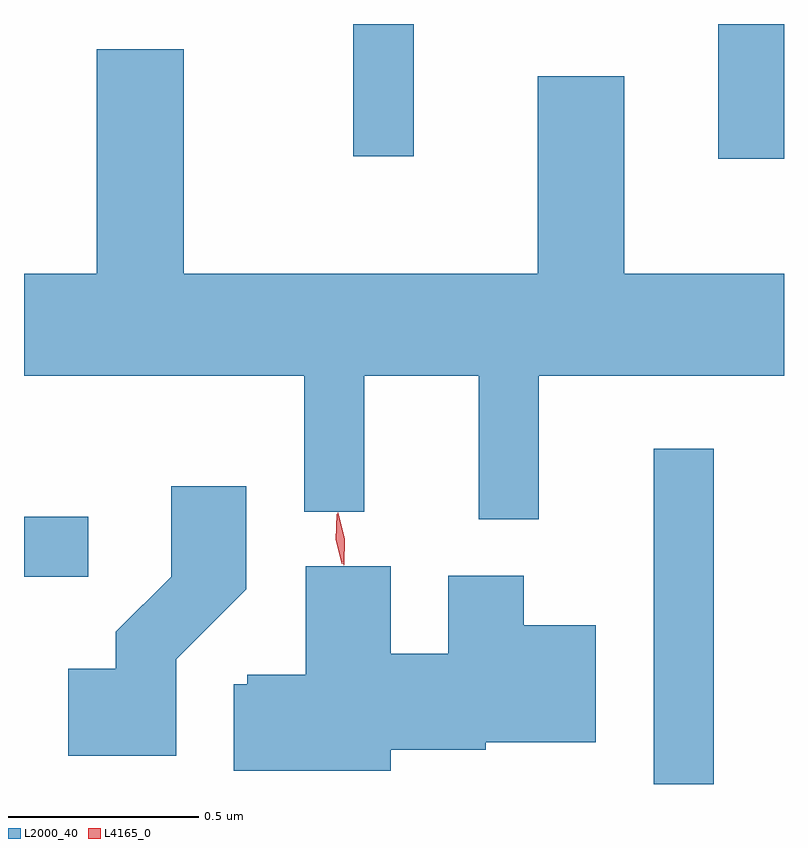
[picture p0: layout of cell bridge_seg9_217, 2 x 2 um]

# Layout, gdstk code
import gdstk
lib = gdstk.Library(unit=1e-6, precision=1e-09)
def R(c, l, rs):  # rectangles x0, y0, x1, y1
    for r in rs: c.add(gdstk.rectangle(r[:2], r[2:], *l))
def P(c, l, *ps):  # polygons
    for p in ps: c.add(gdstk.Polygon(p, *l))
L2000_40 = (2000, 40)
L4165_0 = (4165, 0)

bridge_seg9_217 = lib.new_cell('bridge_seg9_217')
R(bridge_seg9_217, L2000_40, [(1124.546,1959.661,1124.704,1960.543), (1122.889,1960.206,1123.058,1960.364), (1124.716,1961.306,1124.889,1961.661), (1123.756,1961.313,1123.914,1961.661)])
P(bridge_seg9_217, L2000_40, [(1124.244,1960.736),(1124.889,1960.736),(1124.889,1961.004),(1124.469,1961.004),(1124.469,1961.524),(1124.241,1961.524),(1124.241,1961.004),(1123.309,1961.004),(1123.309,1961.594),(1123.081,1961.594),(1123.081,1961.004),(1122.889,1961.004),(1122.889,1960.736),(1123.626,1960.736),(1123.626,1960.378),(1123.784,1960.378),(1123.784,1960.736),(1124.086,1960.736),(1124.086,1960.358),(1124.244,1960.358)],
  [(1123.289,1959.989),(1123.474,1960.174),(1123.474,1960.444),(1123.276,1960.444),(1123.276,1960.207),(1123.131,1960.062),(1123.131,1959.964),(1123.006,1959.964),(1123.006,1959.736),(1123.289,1959.736)],
  [(1123.854,1959.751),(1124.104,1959.751),(1124.104,1959.771),(1124.394,1959.771),(1124.394,1960.079),(1124.204,1960.079),(1124.204,1960.209),(1124.006,1960.209),(1124.006,1960.004),(1123.854,1960.004),(1123.854,1960.234),(1123.631,1960.234),(1123.631,1959.949),(1123.476,1959.949),(1123.476,1959.924),(1123.441,1959.924),(1123.441,1959.696),(1123.854,1959.696)])
P(bridge_seg9_217, L4165_0, [(1123.731,1960.237),(1123.73,1960.238),(1123.713,1960.305),(1123.715,1960.375),(1123.716,1960.375),(1123.716,1960.375),(1123.733,1960.307),(1123.732,1960.238)],
  [(1123.725,1960.24),(1123.709,1960.304),(1123.712,1960.371),(1123.713,1960.371),(1123.714,1960.371),(1123.729,1960.306),(1123.726,1960.24),(1123.726,1960.24)])

lib.write_gds('bridge_seg9_217.gds')
